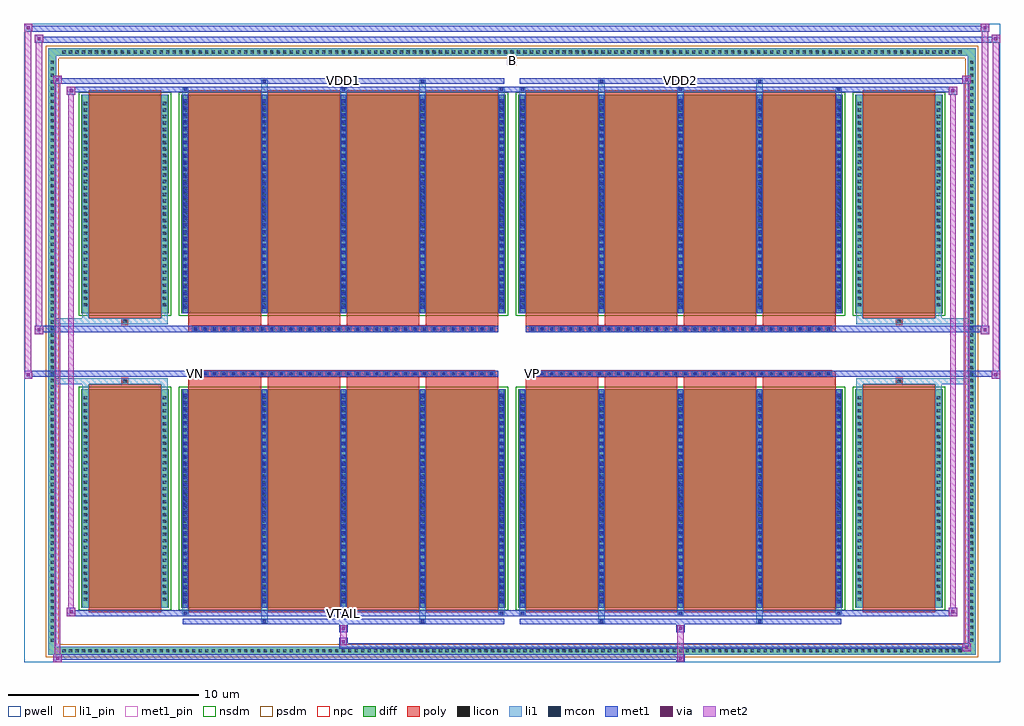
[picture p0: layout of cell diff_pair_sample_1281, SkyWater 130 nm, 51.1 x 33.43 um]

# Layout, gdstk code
import gdstk
lib = gdstk.Library(unit=1e-6, precision=5e-09)
def R(c, l, rs):  # rectangles x0, y0, x1, y1
    for r in rs: c.add(gdstk.rectangle(r[:2], r[2:], *l))
def A(c, l, x, y, w, h, nx, ny, dx, dy):  # array of equal rectangles
    R(c, l, [(x+i*dx, y+j*dy, x+i*dx+w, y+j*dy+h) for i in range(nx) for j in range(ny)])
def P(c, l, *ps):  # polygons
    for p in ps: c.add(gdstk.Polygon(p, *l))
pwell = (64, 44)
diff = (65, 20)
poly = (66, 20)
licon = (66, 44)
li1_pin = (67, 16)
li1 = (67, 20)
mcon = (67, 44)
met1_pin = (68, 16)
met1 = (68, 20)
via = (68, 44)
met2 = (69, 20)
nsdm = (93, 44)
psdm = (94, 20)
npc = (95, 20)

diff_pair_sample_1281 = lib.new_cell('diff_pair_sample_1281')
R(diff_pair_sample_1281, pwell, [(-25.55,-16.28,25.55,17.15), (-22.87,-14.47,-0.01,-0.805), (0.01,-14.47,22.87,-0.805), (-22.87,0.805,-0.01,14.47), (0.01,0.805,22.87,14.47)])
A(diff_pair_sample_1281, diff, -23.665, -15.88, 0.41, 0.41, 139, 2, 0.34, 31.35)
A(diff_pair_sample_1281, diff, -24.28, -15.335, 0.41, 0.41, 1, 90, 0, 0.34)
A(diff_pair_sample_1281, diff, 23.87, -15.335, 0.41, 0.41, 1, 90, 0, 0.34)
R(diff_pair_sample_1281, diff, [(-23.665,-15.88,23.665,-15.47), (-24.28,-15.335,-23.87,15.335), (23.87,-15.335,24.28,15.335), (-22.56,-13.425,-17.97,-1.985), (-17.33,-13.425,-0.32,-1.985), (0.32,-13.425,17.33,-1.985), (17.97,-13.425,22.56,-1.985), (-22.56,1.985,-17.97,13.425), (-17.33,1.985,-0.32,13.425), (0.32,1.985,17.33,13.425), (17.97,1.985,22.56,13.425), (-23.665,15.47,23.665,15.88)])
P(diff_pair_sample_1281, diff, [(24.28,15.88),(-24.28,15.88),(-24.28,-15.47),(-23.87,-15.47),(-23.87,15.47),(23.87,15.47),(23.87,-15.47),(-23.87,-15.47),(-24.28,-15.47),(-24.28,-15.88),(24.28,-15.88)])
A(diff_pair_sample_1281, poly, -16.94, -13.675, 3.81, 11.94, 4, 2, 4.14, 15.41)
A(diff_pair_sample_1281, poly, 0.71, -13.675, 3.81, 11.94, 4, 2, 4.14, 15.41)
A(diff_pair_sample_1281, poly, -16.94, -1.735, 3.81, 0.4, 4, 2, 4.14, 3.07)
A(diff_pair_sample_1281, poly, 0.71, -1.735, 3.81, 0.4, 4, 2, 4.14, 3.07)
A(diff_pair_sample_1281, poly, -16.74, -1.335, 0.33, 0.33, 32, 2, 0.5, 2.34)
A(diff_pair_sample_1281, poly, 0.91, -1.335, 0.33, 0.33, 32, 2, 0.5, 2.34)
R(diff_pair_sample_1281, poly, [(-22.17,-13.675,-18.36,-1.735), (18.36,-13.675,22.17,-1.735), (-20.43,-1.735,-20.1,-1.405), (-20.43,-1.735,-20.1,-1.405), (20.1,-1.735,20.43,-1.405), (20.1,-1.735,20.43,-1.405), (-16.94,-1.335,-0.71,-1.005), (0.71,-1.335,16.94,-1.005), (-16.94,1.005,-0.71,1.335), (0.71,1.005,16.94,1.335), (-20.43,1.405,-20.1,1.735), (-20.43,1.405,-20.1,1.735), (20.1,1.405,20.43,1.735), (20.1,1.405,20.43,1.735), (-22.17,1.735,-18.36,13.675), (18.36,1.735,22.17,13.675)])
A(diff_pair_sample_1281, licon, -23.545, -15.76, 0.17, 0.17, 139, 2, 0.34, 31.35)
A(diff_pair_sample_1281, licon, -24.16, -15.215, 0.17, 0.17, 1, 90, 0, 0.34)
A(diff_pair_sample_1281, licon, 23.99, -15.215, 0.17, 0.17, 1, 90, 0, 0.34)
A(diff_pair_sample_1281, licon, -22.42, -13.06, 0.17, 0.17, 1, 32, 0, 0.34)
A(diff_pair_sample_1281, licon, -18.28, -13.06, 0.17, 0.17, 1, 32, 0, 0.34)
A(diff_pair_sample_1281, licon, -17.19, -13.06, 0.17, 0.17, 5, 32, 4.14, 0.34)
A(diff_pair_sample_1281, licon, 0.46, -13.06, 0.17, 0.17, 5, 32, 4.14, 0.34)
A(diff_pair_sample_1281, licon, 18.11, -13.06, 0.17, 0.17, 1, 32, 0, 0.34)
A(diff_pair_sample_1281, licon, 22.25, -13.06, 0.17, 0.17, 1, 32, 0, 0.34)
A(diff_pair_sample_1281, licon, -16.66, -1.255, 0.17, 0.17, 32, 2, 0.5, 2.34)
A(diff_pair_sample_1281, licon, 0.99, -1.255, 0.17, 0.17, 32, 2, 0.5, 2.34)
A(diff_pair_sample_1281, licon, -22.42, 2.35, 0.17, 0.17, 1, 32, 0, 0.34)
A(diff_pair_sample_1281, licon, -18.28, 2.35, 0.17, 0.17, 1, 32, 0, 0.34)
A(diff_pair_sample_1281, licon, -17.19, 2.35, 0.17, 0.17, 5, 32, 4.14, 0.34)
A(diff_pair_sample_1281, licon, 0.46, 2.35, 0.17, 0.17, 5, 32, 4.14, 0.34)
A(diff_pair_sample_1281, licon, 18.11, 2.35, 0.17, 0.17, 1, 32, 0, 0.34)
A(diff_pair_sample_1281, licon, 22.25, 2.35, 0.17, 0.17, 1, 32, 0, 0.34)
R(diff_pair_sample_1281, licon, [(-20.35,-1.655,-20.18,-1.485), (20.18,-1.655,20.35,-1.485), (-20.35,1.485,-20.18,1.655), (20.18,1.485,20.35,1.655)])
R(diff_pair_sample_1281, li1_pin, [(-0.25,14.97,0.25,15.47)])
A(diff_pair_sample_1281, li1, -23.625, -15.84, 0.33, 0.33, 139, 2, 0.34, 31.35)
A(diff_pair_sample_1281, li1, -24.24, -15.295, 0.33, 0.33, 1, 90, 0, 0.34)
A(diff_pair_sample_1281, li1, 23.91, -15.295, 0.33, 0.33, 1, 90, 0, 0.34)
A(diff_pair_sample_1281, li1, -17.27, -13.8, 0.33, 0.375, 3, 2, 8.28, 27.225)
A(diff_pair_sample_1281, li1, -17.19, -13.8, 0.17, 0.17, 3, 2, 8.28, 27.43)
A(diff_pair_sample_1281, li1, 0.38, -13.8, 0.33, 0.375, 3, 2, 8.28, 27.225)
A(diff_pair_sample_1281, li1, 0.46, -13.8, 0.17, 0.17, 3, 2, 8.28, 27.43)
A(diff_pair_sample_1281, li1, -17.27, -13.425, 0.33, 11.44, 5, 2, 4.14, 15.41)
A(diff_pair_sample_1281, li1, 0.38, -13.425, 0.33, 11.44, 5, 2, 4.14, 15.41)
A(diff_pair_sample_1281, li1, -17.19, -13.19, 0.17, 0.17, 5, 31, 4.14, 0.36)
A(diff_pair_sample_1281, li1, -17.19, -13.19, 0.17, 10.97, 5, 2, 4.14, 15.41)
A(diff_pair_sample_1281, li1, 0.46, -13.19, 0.17, 0.17, 5, 31, 4.14, 0.36)
A(diff_pair_sample_1281, li1, 0.46, -13.19, 0.17, 10.97, 5, 2, 4.14, 15.41)
A(diff_pair_sample_1281, li1, -22.5, -13.14, 0.33, 0.33, 1, 32, 0, 0.34)
A(diff_pair_sample_1281, li1, -18.36, -13.14, 0.33, 0.33, 1, 32, 0, 0.34)
A(diff_pair_sample_1281, li1, -17.27, -13.14, 0.33, 0.33, 5, 32, 4.14, 0.34)
A(diff_pair_sample_1281, li1, 0.38, -13.14, 0.33, 0.33, 5, 32, 4.14, 0.34)
A(diff_pair_sample_1281, li1, 18.03, -13.14, 0.33, 0.33, 1, 32, 0, 0.34)
A(diff_pair_sample_1281, li1, 22.17, -13.14, 0.33, 0.33, 1, 32, 0, 0.34)
A(diff_pair_sample_1281, li1, -16.74, -1.335, 0.33, 0.33, 32, 2, 0.5, 2.34)
A(diff_pair_sample_1281, li1, 0.91, -1.335, 0.33, 0.33, 32, 2, 0.5, 2.34)
A(diff_pair_sample_1281, li1, -17.19, 2.22, 0.17, 0.17, 5, 31, 4.14, 0.36)
A(diff_pair_sample_1281, li1, 0.46, 2.22, 0.17, 0.17, 5, 31, 4.14, 0.36)
A(diff_pair_sample_1281, li1, -22.5, 2.27, 0.33, 0.33, 1, 32, 0, 0.34)
A(diff_pair_sample_1281, li1, -18.36, 2.27, 0.33, 0.33, 1, 32, 0, 0.34)
A(diff_pair_sample_1281, li1, -17.27, 2.27, 0.33, 0.33, 5, 32, 4.14, 0.34)
A(diff_pair_sample_1281, li1, 0.38, 2.27, 0.33, 0.33, 5, 32, 4.14, 0.34)
A(diff_pair_sample_1281, li1, 18.03, 2.27, 0.33, 0.33, 1, 32, 0, 0.34)
A(diff_pair_sample_1281, li1, 22.17, 2.27, 0.33, 0.33, 1, 32, 0, 0.34)
R(diff_pair_sample_1281, li1, [(-24.28,-15.88,-23.87,-15.47), (-24.28,-15.88,-23.87,-15.47), (-23.87,-15.88,23.87,-15.47), (23.87,-15.88,24.28,-15.47), (23.87,-15.88,24.28,-15.47), (-24.28,-15.47,-23.87,15.47), (23.87,-15.47,24.28,15.47), (-13.13,-14.23,-12.8,-13.425), (-13.05,-14.23,-12.88,-14.06), (-4.85,-14.23,-4.52,-13.425), (-4.77,-14.23,-4.6,-14.06), (4.52,-14.23,4.85,-13.425), (4.6,-14.23,4.77,-14.06), (12.8,-14.23,13.13,-13.425), (12.88,-14.23,13.05,-14.06), (-22.5,-13.425,-22.17,-1.985), (-18.36,-13.425,-18.03,-1.985), (18.03,-13.425,18.36,-1.985), (22.17,-13.425,22.5,-1.985), (-22.5,-1.985,-22.17,-1.405), (-18.36,-1.985,-18.03,-1.405), (18.03,-1.985,18.36,-1.405), (22.17,-1.985,22.5,-1.405), (-24.28,-1.735,-20.43,-1.405), (-22.5,-1.735,-20.43,-1.405), (-20.43,-1.735,-20.1,-1.405), (-20.1,-1.735,-18.03,-1.405), (18.03,-1.735,20.1,-1.405), (20.1,-1.735,20.43,-1.405), (20.1,-1.735,24.28,-1.405), (20.43,-1.735,22.5,-1.405), (-24.28,1.405,-20.43,1.735), (-22.5,1.405,-20.43,1.735), (-22.5,1.405,-22.17,1.985), (-20.43,1.405,-20.1,1.735), (-20.1,1.405,-18.03,1.735), (-18.36,1.405,-18.03,1.985), (18.03,1.405,20.1,1.735), (18.03,1.405,18.36,1.985), (20.1,1.405,20.43,1.735), (20.1,1.405,24.28,1.735), (20.43,1.405,22.5,1.735), (22.17,1.405,22.5,1.985), (-22.5,1.985,-22.17,13.425), (-18.36,1.985,-18.03,13.425), (18.03,1.985,18.36,13.425), (22.17,1.985,22.5,13.425), (-13.13,13.425,-12.8,14.23), (-4.85,13.425,-4.52,14.23), (4.52,13.425,4.85,14.23), (12.8,13.425,13.13,14.23), (-13.05,14.06,-12.88,14.23), (-4.77,14.06,-4.6,14.23), (4.6,14.06,4.77,14.23), (12.88,14.06,13.05,14.23), (-24.28,15.47,-23.87,15.88), (-24.28,15.47,-23.87,15.88), (-23.87,15.47,23.87,15.88), (23.87,15.47,24.28,15.88), (23.87,15.47,24.28,15.88)])
A(diff_pair_sample_1281, mcon, -17.19, -13.8, 0.17, 0.17, 3, 2, 8.28, 27.43)
A(diff_pair_sample_1281, mcon, 0.46, -13.8, 0.17, 0.17, 3, 2, 8.28, 27.43)
A(diff_pair_sample_1281, mcon, -17.19, -13.19, 0.17, 0.17, 5, 31, 4.14, 0.36)
A(diff_pair_sample_1281, mcon, 0.46, -13.19, 0.17, 0.17, 5, 31, 4.14, 0.36)
A(diff_pair_sample_1281, mcon, -16.66, -1.255, 0.17, 0.17, 32, 2, 0.5, 2.34)
A(diff_pair_sample_1281, mcon, 0.99, -1.255, 0.17, 0.17, 32, 2, 0.5, 2.34)
A(diff_pair_sample_1281, mcon, -17.19, 2.22, 0.17, 0.17, 5, 31, 4.14, 0.36)
A(diff_pair_sample_1281, mcon, 0.46, 2.22, 0.17, 0.17, 5, 31, 4.14, 0.36)
R(diff_pair_sample_1281, mcon, [(-13.05,-14.23,-12.88,-14.06), (-4.77,-14.23,-4.6,-14.06), (4.6,-14.23,4.77,-14.06), (12.88,-14.23,13.05,-14.06), (-13.05,14.06,-12.88,14.23), (-4.77,14.06,-4.6,14.23), (4.6,14.06,4.77,14.23), (12.88,14.06,13.05,14.23)])
R(diff_pair_sample_1281, met1_pin, [(-8.96,-13.84,-8.69,-13.57), (-16.71,-1.295,-16.44,-1.025), (0.94,-1.295,1.21,-1.025), (-8.96,14.02,-8.69,14.29), (8.69,14.02,8.96,14.29)])
A(diff_pair_sample_1281, met1, -17.25, -13.86, 0.29, 0.29, 3, 2, 8.28, 27.43)
A(diff_pair_sample_1281, met1, 0.4, -13.86, 0.29, 0.29, 3, 2, 8.28, 27.43)
A(diff_pair_sample_1281, met1, -17.25, -13.425, 0.29, 11.44, 5, 2, 4.14, 15.41)
A(diff_pair_sample_1281, met1, 0.4, -13.425, 0.29, 11.44, 5, 2, 4.14, 15.41)
A(diff_pair_sample_1281, met1, -17.25, -13.25, 0.29, 0.29, 5, 31, 4.14, 0.36)
A(diff_pair_sample_1281, met1, 0.4, -13.25, 0.29, 0.29, 5, 31, 4.14, 0.36)
A(diff_pair_sample_1281, met1, -16.72, -1.315, 0.29, 0.29, 32, 2, 0.5, 2.34)
A(diff_pair_sample_1281, met1, 0.93, -1.315, 0.29, 0.29, 32, 2, 0.5, 2.34)
A(diff_pair_sample_1281, met1, -17.25, 2.16, 0.29, 0.29, 5, 31, 4.14, 0.36)
A(diff_pair_sample_1281, met1, 0.4, 2.16, 0.29, 0.29, 5, 31, 4.14, 0.36)
R(diff_pair_sample_1281, met1, [(-24.01,-16.28,-23.58,-15.85), (8.61,-16.28,9.04,-15.85), (-24.01,-16.14,9.04,-15.85), (23.58,-15.71,24.01,-15.28), (-9.04,-15.57,24.01,-15.28), (-9.04,-15.43,-8.61,-15), (-9.04,-14.72,-8.61,-14.29), (8.61,-14.72,9.04,-14.29), (-17.25,-14.29,-0.4,-14), (-13.11,-14.29,-12.82,-14), (-4.83,-14.29,-4.54,-14), (0.4,-14.29,17.25,-14), (4.54,-14.29,4.83,-14), (12.82,-14.29,13.11,-14), (-23.3,-13.86,-22.87,-13.43), (-23.3,-13.86,-17.25,-13.57), (-17.25,-13.86,-0.4,-13.57), (-0.4,-13.86,0.4,-13.57), (0.4,-13.86,17.25,-13.57), (17.25,-13.86,23.3,-13.57), (22.87,-13.86,23.3,-13.43), (-25.55,-1.435,-25.12,-1.005), (25.12,-1.435,25.55,-1.005), (-25.55,-1.335,-0.71,-1.005), (-16.94,-1.335,-0.71,-1.005), (0.71,-1.335,16.94,-1.005), (0.71,-1.335,25.55,-1.005), (-24.98,0.905,-24.55,1.335), (24.55,0.905,24.98,1.335), (-24.98,1.005,-16.94,1.335), (-16.94,1.005,-0.71,1.335), (0.71,1.005,16.94,1.335), (16.94,1.005,24.98,1.335), (-23.3,13.43,-22.87,13.86), (22.87,13.43,23.3,13.86), (-23.3,13.57,-17.25,13.86), (-17.25,13.57,-0.4,13.86), (-0.4,13.57,0.4,13.86), (0.4,13.57,17.25,13.86), (17.25,13.57,23.3,13.86), (-24.01,14,-23.58,14.43), (-24.01,14,-17.25,14.29), (-17.25,14,-0.4,14.29), (-13.11,14,-12.82,14.29), (-4.83,14,-4.54,14.29), (0.4,14,17.25,14.29), (4.54,14,4.83,14.29), (12.82,14,13.11,14.29), (17.25,14,24.01,14.29), (23.58,14,24.01,14.43), (-24.98,16.15,-24.55,16.58), (-24.98,16.15,-22.87,16.48), (-22.87,16.15,22.87,16.48), (22.87,16.15,25.55,16.48), (25.12,16.15,25.55,16.58), (-25.55,16.72,-25.12,17.15), (-25.55,16.72,-22.87,17.05), (-22.87,16.72,22.87,17.05), (22.87,16.72,24.98,17.05), (24.55,16.72,24.98,17.15)])
R(diff_pair_sample_1281, via, [(-23.87,-16.14,-23.72,-15.99), (8.75,-16.14,8.9,-15.99), (23.72,-15.57,23.87,-15.42), (-8.9,-15.29,-8.75,-15.14), (-8.9,-14.58,-8.75,-14.43), (8.75,-14.58,8.9,-14.43), (-23.16,-13.72,-23.01,-13.57), (23.01,-13.72,23.16,-13.57), (-25.41,-1.295,-25.26,-1.145), (25.26,-1.295,25.41,-1.145), (-24.84,1.045,-24.69,1.195), (24.69,1.045,24.84,1.195), (-23.16,13.57,-23.01,13.72), (23.01,13.57,23.16,13.72), (-23.87,14.14,-23.72,14.29), (23.72,14.14,23.87,14.29), (-24.84,16.29,-24.69,16.44), (25.26,16.29,25.41,16.44), (-25.41,16.86,-25.26,17.01), (24.69,16.86,24.84,17.01)])
R(diff_pair_sample_1281, met2, [(-24.01,-16.28,-23.58,-15.85), (-23.94,-16.28,-23.65,14.43), (-23.65,-16.28,-23.58,-15.85), (-23.96,-16.23,-23.63,-15.9), (8.66,-16.23,8.99,-15.9), (8.66,-15.9,8.99,-14.67), (23.58,-15.71,24.01,-15.28), (23.65,-15.71,23.94,14.43), (23.94,-15.71,24.01,-15.28), (23.63,-15.66,23.96,-15.33), (-8.99,-15.38,-8.66,-15.05), (-8.99,-15.05,-8.66,-14.67), (-8.99,-14.67,-8.66,-14.34), (8.66,-14.67,8.99,-14.34), (-23.3,-13.86,-22.87,-13.43), (-23.23,-13.86,-22.94,13.86), (-22.94,-13.86,-22.87,-13.43), (22.87,-13.86,23.3,-13.43), (22.94,-13.86,23.23,13.86), (23.23,-13.86,23.3,-13.43), (-23.25,-13.81,-22.92,-13.48), (22.92,-13.81,23.25,-13.48), (-25.55,-1.435,-25.12,-1.005), (-25.5,-1.435,-25.17,17.15), (-25.17,-1.435,-25.12,-1.005), (25.12,-1.435,25.55,-1.005), (25.17,-1.435,25.5,16.58), (25.5,-1.435,25.55,-1.005), (-25.5,-1.385,-25.17,-1.055), (25.17,-1.385,25.5,-1.055), (-24.98,0.905,-24.55,1.335), (-24.93,0.905,-24.6,16.58), (-24.6,0.905,-24.55,1.335), (24.55,0.905,24.98,1.335), (24.6,0.905,24.93,17.15), (24.93,0.905,24.98,1.335), (-24.93,0.955,-24.6,1.285), (24.6,0.955,24.93,1.285), (-23.3,13.43,-22.87,13.86), (-22.94,13.43,-22.87,13.86), (22.87,13.43,23.3,13.86), (23.23,13.43,23.3,13.86), (-23.25,13.48,-22.92,13.81), (22.92,13.48,23.25,13.81), (-24.01,14,-23.58,14.43), (-23.65,14,-23.58,14.43), (23.58,14,24.01,14.43), (23.94,14,24.01,14.43), (-23.96,14.05,-23.63,14.38), (23.63,14.05,23.96,14.38), (-24.98,16.15,-24.55,16.58), (-24.6,16.15,-24.55,16.58), (25.12,16.15,25.55,16.58), (25.5,16.15,25.55,16.58), (-24.93,16.2,-24.6,16.53), (25.17,16.2,25.5,16.53), (-25.55,16.72,-25.12,17.15), (-25.17,16.72,-25.12,17.15), (24.55,16.72,24.98,17.15), (24.93,16.72,24.98,17.15), (-25.5,16.77,-25.17,17.1), (24.6,16.77,24.93,17.1)])
R(diff_pair_sample_1281, nsdm, [(-22.69,-13.555,-17.84,-1.855), (-17.46,-13.555,-0.19,-1.855), (0.19,-13.555,17.46,-1.855), (17.84,-13.555,22.69,-1.855), (-22.69,1.855,-17.84,13.555), (-17.46,1.855,-0.19,13.555), (0.19,1.855,17.46,13.555), (17.84,1.855,22.69,13.555)])
P(diff_pair_sample_1281, psdm, [(24.41,16.01),(-24.41,16.01),(-24.41,-15.34),(-23.74,-15.34),(-23.74,15.34),(23.74,15.34),(23.74,-15.34),(-23.74,-15.34),(-24.41,-15.34),(-24.41,-16.01),(24.41,-16.01)])
A(diff_pair_sample_1281, npc, -16.76, -1.355, 0.37, 0.37, 32, 2, 0.5, 2.34)
A(diff_pair_sample_1281, npc, 0.89, -1.355, 0.37, 0.37, 32, 2, 0.5, 2.34)
R(diff_pair_sample_1281, npc, [(-20.45,-1.755,-20.08,-1.385), (20.08,-1.755,20.45,-1.385), (-16.76,-1.355,-15.89,-0.985), (-16.76,-1.355,-15.89,-0.985), (-16.26,-1.355,-15.39,-0.985), (-16.26,-1.355,-15.39,-0.985), (-15.76,-1.355,-14.89,-0.985), (-15.76,-1.355,-14.89,-0.985), (-15.26,-1.355,-14.39,-0.985), (-15.26,-1.355,-14.39,-0.985), (-14.76,-1.355,-13.89,-0.985), (-14.76,-1.355,-13.89,-0.985), (-14.26,-1.355,-13.39,-0.985), (-14.26,-1.355,-13.39,-0.985), (-13.76,-1.355,-12.89,-0.985), (-13.76,-1.355,-12.89,-0.985), (-13.26,-1.355,-12.39,-0.985), (-13.26,-1.355,-12.39,-0.985), (-12.76,-1.355,-11.89,-0.985), (-12.76,-1.355,-11.89,-0.985), (-12.26,-1.355,-11.39,-0.985), (-12.26,-1.355,-11.39,-0.985), (-11.76,-1.355,-10.89,-0.985), (-11.76,-1.355,-10.89,-0.985), (-11.26,-1.355,-10.39,-0.985), (-11.26,-1.355,-10.39,-0.985), (-10.76,-1.355,-9.89,-0.985), (-10.76,-1.355,-9.89,-0.985), (-10.26,-1.355,-9.39,-0.985), (-10.26,-1.355,-9.39,-0.985), (-9.76,-1.355,-8.89,-0.985), (-9.76,-1.355,-8.89,-0.985), (-9.26,-1.355,-8.39,-0.985), (-9.26,-1.355,-8.39,-0.985), (-8.76,-1.355,-7.89,-0.985), (-8.76,-1.355,-7.89,-0.985), (-8.26,-1.355,-7.39,-0.985), (-8.26,-1.355,-7.39,-0.985), (-7.76,-1.355,-6.89,-0.985), (-7.76,-1.355,-6.89,-0.985), (-7.26,-1.355,-6.39,-0.985), (-7.26,-1.355,-6.39,-0.985), (-6.76,-1.355,-5.89,-0.985), (-6.76,-1.355,-5.89,-0.985), (-6.26,-1.355,-5.39,-0.985), (-6.26,-1.355,-5.39,-0.985), (-5.76,-1.355,-4.89,-0.985), (-5.76,-1.355,-4.89,-0.985), (-5.26,-1.355,-4.39,-0.985), (-5.26,-1.355,-4.39,-0.985), (-4.76,-1.355,-3.89,-0.985), (-4.76,-1.355,-3.89,-0.985), (-4.26,-1.355,-3.39,-0.985), (-4.26,-1.355,-3.39,-0.985), (-3.76,-1.355,-2.89,-0.985), (-3.76,-1.355,-2.89,-0.985), (-3.26,-1.355,-2.39,-0.985), (-3.26,-1.355,-2.39,-0.985), (-2.76,-1.355,-1.89,-0.985), (-2.76,-1.355,-1.89,-0.985), (-2.26,-1.355,-1.39,-0.985), (-2.26,-1.355,-1.39,-0.985), (-1.76,-1.355,-0.89,-0.985), (-1.76,-1.355,-0.89,-0.985), (0.89,-1.355,1.76,-0.985), (0.89,-1.355,1.76,-0.985), (1.39,-1.355,2.26,-0.985), (1.39,-1.355,2.26,-0.985), (1.89,-1.355,2.76,-0.985), (1.89,-1.355,2.76,-0.985), (2.39,-1.355,3.26,-0.985), (2.39,-1.355,3.26,-0.985), (2.89,-1.355,3.76,-0.985), (2.89,-1.355,3.76,-0.985), (3.39,-1.355,4.26,-0.985), (3.39,-1.355,4.26,-0.985), (3.89,-1.355,4.76,-0.985), (3.89,-1.355,4.76,-0.985), (4.39,-1.355,5.26,-0.985), (4.39,-1.355,5.26,-0.985), (4.89,-1.355,5.76,-0.985), (4.89,-1.355,5.76,-0.985), (5.39,-1.355,6.26,-0.985), (5.39,-1.355,6.26,-0.985), (5.89,-1.355,6.76,-0.985), (5.89,-1.355,6.76,-0.985), (6.39,-1.355,7.26,-0.985), (6.39,-1.355,7.26,-0.985), (6.89,-1.355,7.76,-0.985), (6.89,-1.355,7.76,-0.985), (7.39,-1.355,8.26,-0.985), (7.39,-1.355,8.26,-0.985), (7.89,-1.355,8.76,-0.985), (7.89,-1.355,8.76,-0.985), (8.39,-1.355,9.26,-0.985), (8.39,-1.355,9.26,-0.985), (8.89,-1.355,9.76,-0.985), (8.89,-1.355,9.76,-0.985), (9.39,-1.355,10.26,-0.985), (9.39,-1.355,10.26,-0.985), (9.89,-1.355,10.76,-0.985), (9.89,-1.355,10.76,-0.985), (10.39,-1.355,11.26,-0.985), (10.39,-1.355,11.26,-0.985), (10.89,-1.355,11.76,-0.985), (10.89,-1.355,11.76,-0.985), (11.39,-1.355,12.26,-0.985), (11.39,-1.355,12.26,-0.985), (11.89,-1.355,12.76,-0.985), (11.89,-1.355,12.76,-0.985), (12.39,-1.355,13.26,-0.985), (12.39,-1.355,13.26,-0.985), (12.89,-1.355,13.76,-0.985), (12.89,-1.355,13.76,-0.985), (13.39,-1.355,14.26,-0.985), (13.39,-1.355,14.26,-0.985), (13.89,-1.355,14.76,-0.985), (13.89,-1.355,14.76,-0.985), (14.39,-1.355,15.26,-0.985), (14.39,-1.355,15.26,-0.985), (14.89,-1.355,15.76,-0.985), (14.89,-1.355,15.76,-0.985), (15.39,-1.355,16.26,-0.985), (15.39,-1.355,16.26,-0.985), (15.89,-1.355,16.76,-0.985), (15.89,-1.355,16.76,-0.985), (-16.76,0.985,-15.89,1.355), (-16.76,0.985,-15.89,1.355), (-16.26,0.985,-15.39,1.355), (-16.26,0.985,-15.39,1.355), (-15.76,0.985,-14.89,1.355), (-15.76,0.985,-14.89,1.355), (-15.26,0.985,-14.39,1.355), (-15.26,0.985,-14.39,1.355), (-14.76,0.985,-13.89,1.355), (-14.76,0.985,-13.89,1.355), (-14.26,0.985,-13.39,1.355), (-14.26,0.985,-13.39,1.355), (-13.76,0.985,-12.89,1.355), (-13.76,0.985,-12.89,1.355), (-13.26,0.985,-12.39,1.355), (-13.26,0.985,-12.39,1.355), (-12.76,0.985,-11.89,1.355), (-12.76,0.985,-11.89,1.355), (-12.26,0.985,-11.39,1.355), (-12.26,0.985,-11.39,1.355), (-11.76,0.985,-10.89,1.355), (-11.76,0.985,-10.89,1.355), (-11.26,0.985,-10.39,1.355), (-11.26,0.985,-10.39,1.355), (-10.76,0.985,-9.89,1.355), (-10.76,0.985,-9.89,1.355), (-10.26,0.985,-9.39,1.355), (-10.26,0.985,-9.39,1.355), (-9.76,0.985,-8.89,1.355), (-9.76,0.985,-8.89,1.355), (-9.26,0.985,-8.39,1.355), (-9.26,0.985,-8.39,1.355), (-8.76,0.985,-7.89,1.355), (-8.76,0.985,-7.89,1.355), (-8.26,0.985,-7.39,1.355), (-8.26,0.985,-7.39,1.355), (-7.76,0.985,-6.89,1.355), (-7.76,0.985,-6.89,1.355), (-7.26,0.985,-6.39,1.355), (-7.26,0.985,-6.39,1.355), (-6.76,0.985,-5.89,1.355), (-6.76,0.985,-5.89,1.355), (-6.26,0.985,-5.39,1.355), (-6.26,0.985,-5.39,1.355), (-5.76,0.985,-4.89,1.355), (-5.76,0.985,-4.89,1.355), (-5.26,0.985,-4.39,1.355), (-5.26,0.985,-4.39,1.355), (-4.76,0.985,-3.89,1.355), (-4.76,0.985,-3.89,1.355), (-4.26,0.985,-3.39,1.355), (-4.26,0.985,-3.39,1.355), (-3.76,0.985,-2.89,1.355), (-3.76,0.985,-2.89,1.355), (-3.26,0.985,-2.39,1.355), (-3.26,0.985,-2.39,1.355), (-2.76,0.985,-1.89,1.355), (-2.76,0.985,-1.89,1.355), (-2.26,0.985,-1.39,1.355), (-2.26,0.985,-1.39,1.355), (-1.76,0.985,-0.89,1.355), (-1.76,0.985,-0.89,1.355), (0.89,0.985,1.76,1.355), (0.89,0.985,1.76,1.355), (1.39,0.985,2.26,1.355), (1.39,0.985,2.26,1.355), (1.89,0.985,2.76,1.355), (1.89,0.985,2.76,1.355), (2.39,0.985,3.26,1.355), (2.39,0.985,3.26,1.355), (2.89,0.985,3.76,1.355), (2.89,0.985,3.76,1.355), (3.39,0.985,4.26,1.355), (3.39,0.985,4.26,1.355), (3.89,0.985,4.76,1.355), (3.89,0.985,4.76,1.355), (4.39,0.985,5.26,1.355), (4.39,0.985,5.26,1.355), (4.89,0.985,5.76,1.355), (4.89,0.985,5.76,1.355), (5.39,0.985,6.26,1.355), (5.39,0.985,6.26,1.355), (5.89,0.985,6.76,1.355), (5.89,0.985,6.76,1.355), (6.39,0.985,7.26,1.355), (6.39,0.985,7.26,1.355), (6.89,0.985,7.76,1.355), (6.89,0.985,7.76,1.355), (7.39,0.985,8.26,1.355), (7.39,0.985,8.26,1.355), (7.89,0.985,8.76,1.355), (7.89,0.985,8.76,1.355), (8.39,0.985,9.26,1.355), (8.39,0.985,9.26,1.355), (8.89,0.985,9.76,1.355), (8.89,0.985,9.76,1.355), (9.39,0.985,10.26,1.355), (9.39,0.985,10.26,1.355), (9.89,0.985,10.76,1.355), (9.89,0.985,10.76,1.355), (10.39,0.985,11.26,1.355), (10.39,0.985,11.26,1.355), (10.89,0.985,11.76,1.355), (10.89,0.985,11.76,1.355), (11.39,0.985,12.26,1.355), (11.39,0.985,12.26,1.355), (11.89,0.985,12.76,1.355), (11.89,0.985,12.76,1.355), (12.39,0.985,13.26,1.355), (12.39,0.985,13.26,1.355), (12.89,0.985,13.76,1.355), (12.89,0.985,13.76,1.355), (13.39,0.985,14.26,1.355), (13.39,0.985,14.26,1.355), (13.89,0.985,14.76,1.355), (13.89,0.985,14.76,1.355), (14.39,0.985,15.26,1.355), (14.39,0.985,15.26,1.355), (14.89,0.985,15.76,1.355), (14.89,0.985,15.76,1.355), (15.39,0.985,16.26,1.355), (15.39,0.985,16.26,1.355), (15.89,0.985,16.76,1.355), (15.89,0.985,16.76,1.355), (-20.45,1.385,-20.08,1.755), (20.08,1.385,20.45,1.755)])
diff_pair_sample_1281.add(gdstk.Label('VTAIL', (-8.825,-13.705), layer=68, texttype=5))
diff_pair_sample_1281.add(gdstk.Label('VN', (-16.575,-1.16), layer=68, texttype=5))
diff_pair_sample_1281.add(gdstk.Label('VP', (1.075,-1.16), layer=68, texttype=5))
diff_pair_sample_1281.add(gdstk.Label('B', (0,15.22), layer=67, texttype=5))
diff_pair_sample_1281.add(gdstk.Label('VDD2', (8.825,14.155), layer=68, texttype=5))
diff_pair_sample_1281.add(gdstk.Label('VDD1', (-8.825,14.155), layer=68, texttype=5))

lib.write_gds('diff_pair_sample_1281.gds')
